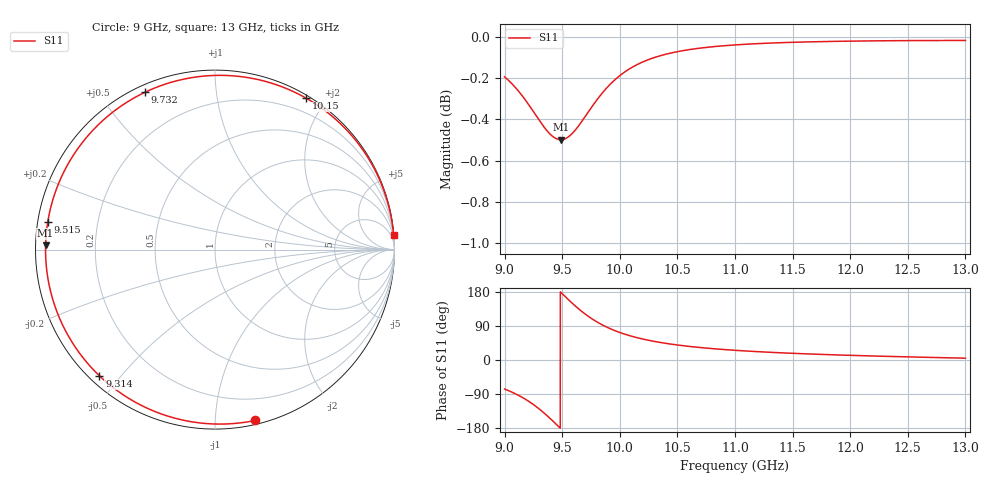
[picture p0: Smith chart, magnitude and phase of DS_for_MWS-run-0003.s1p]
! TOUCHSTONE file generated by CST DESIGN STUDIO
! Date and time: Tue Feb  4 13:36:34 2025
! Project name: C:\Work\MatlabApps\UnitCellOptimizationMatlab\CST\unitcell.cst
! Tree item: Tasks\Sweep1\SPara1\S-Parameters
! Header version: 2024
! Port assignment regex: !\s*Touchstone port\s*([0-9]+)\s*=\s*(CST MWS port|CST DES external port|CST DES block port)\s*(.+)\s* \(\"(.*)\"\)(\s*mode\s*([0-9]+))?.*
! Touchstone port assignment:
! Touchstone port 1 = CST DES external port 1 ("")
# GHz S MA R 50
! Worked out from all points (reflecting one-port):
!   4001 points, 9 GHz to 13 GHz, reference 50 ohm
!   lowest |S11| = -0.5 dB at 9.488 GHz (marker M1), VSWR 34.85, Z = 1.43 + j0.609 ohm
!   phase of S11 starts at -77 deg and turns -278 deg over the sweep
!   S11 on the Smith chart (normalised r, x): 9 GHz: 0.03, -1.26; 9.314 GHz: 0.03, -0.44; 9.515 GHz: 0.03, +0.08; 9.732 GHz: 0.03, +0.65; 10.15 GHz: 0.03, +1.77; 13 GHz: 1, +24
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9  0.978 -76.7
9.08  0.9732 -87.1
9.179  0.9655 -103.3
9.249  0.9593 -117.3
9.314  0.9533 -132.5
9.36  0.9496 -144.5
9.409  0.9464 -158.1
9.449  0.9448 -169.8
9.488  0.9442 178.6
9.5  0.9443 175.0
9.515  0.9445 170.6
9.568  0.9464 155.2
9.628  0.9504 138.7
9.679  0.9547 126.0
9.732  0.9595 114.0
9.786  0.9642 103.3
9.846  0.9691 93.0
9.922  0.9743 81.9
10  0.9787 72.6
10.15  0.9847 58.9
10.309  0.9888 48.5
10.5  0.9919 39.6
10.722  0.9941 32.2
11  0.9957 25.5
11.5  0.9971 17.6
12  0.9978 12.3
12.5  0.9981 8.2
13  0.9981 4.8
